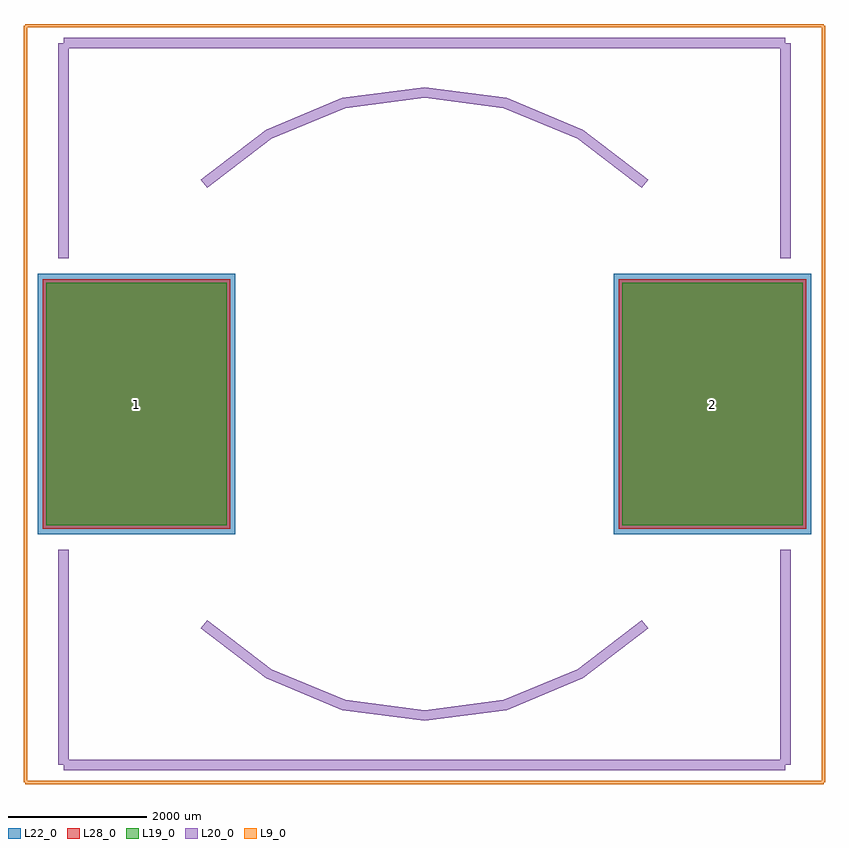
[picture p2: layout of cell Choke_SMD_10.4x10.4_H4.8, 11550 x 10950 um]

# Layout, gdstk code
import gdstk
lib = gdstk.Library(unit=1e-6, precision=1e-09)
def R(c, l, rs):  # rectangles x0, y0, x1, y1
    for r in rs: c.add(gdstk.rectangle(r[:2], r[2:], *l))
L9_0 = (9, 0)
L19_0 = (19, 0)
L20_0 = (20, 0)
L22_0 = (22, 0)
L28_0 = (28, 0)

choke_smd_10_4x10_4_h4_8 = lib.new_cell('Choke_SMD_10.4x10.4_H4.8')
R(choke_smd_10_4x10_4_h4_8, L19_0, [(-5450,-1750,-2850,1750), (2850,-1750,5450,1750)])
R(choke_smd_10_4x10_4_h4_8, L22_0, [(-5575,-1875,-2725,1875), (2725,-1875,5575,1875)])
R(choke_smd_10_4x10_4_h4_8, L28_0, [(-5500,-1800,-2800,1800), (2800,-1800,5500,1800)])
choke_smd_10_4x10_4_h4_8.add(gdstk.FlexPath([(-5200,-5200),(5200,-5200)], 149.998, ends="flush", simple_path=True, layer=20, datatype=0))  # L20_0
choke_smd_10_4x10_4_h4_8.add(gdstk.FlexPath([(-5200,5200),(5200,5200)], 149.998, ends="flush", simple_path=True, layer=20, datatype=0))  # L20_0
choke_smd_10_4x10_4_h4_8.add(gdstk.FlexPath([(-5200,-5200),(-5200,-2100)], 149.998, ends="flush", simple_path=True, layer=20, datatype=0))  # L20_0
choke_smd_10_4x10_4_h4_8.add(gdstk.FlexPath([(5200,-5200),(5200,-2100)], 149.998, ends="flush", simple_path=True, layer=20, datatype=0))  # L20_0
choke_smd_10_4x10_4_h4_8.add(gdstk.FlexPath([(-5200,5200),(-5200,2100)], 149.998, ends="flush", simple_path=True, layer=20, datatype=0))  # L20_0
choke_smd_10_4x10_4_h4_8.add(gdstk.FlexPath([(5200,5200),(5200,2100)], 149.998, ends="flush", simple_path=True, layer=20, datatype=0))  # L20_0
choke_smd_10_4x10_4_h4_8.add(gdstk.FlexPath([(3175,3175),(2245.064,3888.565),(1162.131,4337.131),(0,4490.128),(-1162.131,4337.131),(-2245.064,3888.565),(-3175,3175)], 149.998, ends="flush", simple_path=True, layer=20, datatype=0))  # L20_0
choke_smd_10_4x10_4_h4_8.add(gdstk.FlexPath([(-3175,-3175),(-2245.064,-3888.565),(-1162.131,-4337.131),(0,-4490.128),(1162.131,-4337.131),(2245.064,-3888.565),(3175,-3175)], 149.998, ends="flush", simple_path=True, layer=20, datatype=0))  # L20_0
choke_smd_10_4x10_4_h4_8.add(gdstk.FlexPath([(5750,5450),(-5750,5450)], 50, ends="flush", simple_path=True, layer=9, datatype=0))  # L9_0
choke_smd_10_4x10_4_h4_8.add(gdstk.FlexPath([(5750,-5450),(5750,5450)], 50, ends="flush", simple_path=True, layer=9, datatype=0))  # L9_0
choke_smd_10_4x10_4_h4_8.add(gdstk.FlexPath([(-5750,-5450),(5750,-5450)], 50, ends="flush", simple_path=True, layer=9, datatype=0))  # L9_0
choke_smd_10_4x10_4_h4_8.add(gdstk.FlexPath([(-5750,5450),(-5750,-5450)], 50, ends="flush", simple_path=True, layer=9, datatype=0))  # L9_0
choke_smd_10_4x10_4_h4_8.add(gdstk.Label('2', (4150,0), layer=28, texttype=0))
choke_smd_10_4x10_4_h4_8.add(gdstk.Label('1', (-4150,0), layer=28, texttype=0))
choke_smd_10_4x10_4_h4_8.add(gdstk.Label('type', (0,-6350), layer=9, texttype=0))
choke_smd_10_4x10_4_h4_8.add(gdstk.Label('devicename', (0,6350), layer=9, texttype=0))

lib.write_gds('Choke_SMD_10.4x10.4_H4.8.gds')
